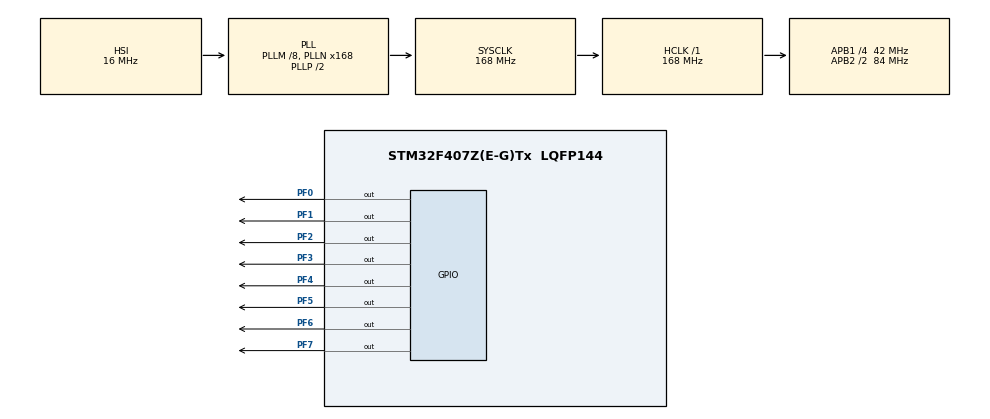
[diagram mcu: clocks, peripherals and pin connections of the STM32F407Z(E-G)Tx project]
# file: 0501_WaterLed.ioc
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Mcu.Family=STM32F4
Mcu.Name=STM32F407Z(E-G)Tx
Mcu.Package=LQFP144
NVIC.PriorityGroup=NVIC_PRIORITYGROUP_4
PA13.Mode=Serial_Wire
PA13.Signal=SYS_JTMS-SWDIO
PA14.Mode=Serial_Wire
PA14.Signal=SYS_JTCK-SWCLK
PF0.PinState=GPIO_PIN_SET
PF0.Signal=GPIO_Output
PF1.PinState=GPIO_PIN_SET
PF1.Signal=GPIO_Output
PF2.PinState=GPIO_PIN_SET
PF2.Signal=GPIO_Output
PF3.PinState=GPIO_PIN_SET
PF3.Signal=GPIO_Output
PF4.PinState=GPIO_PIN_SET
PF4.Signal=GPIO_Output
PF5.PinState=GPIO_PIN_SET
PF5.Signal=GPIO_Output
PF6.PinState=GPIO_PIN_SET
PF6.Signal=GPIO_Output
PF7.PinState=GPIO_PIN_SET
PF7.Signal=GPIO_Output
PH0-OSC_IN.Mode=HSE-External-Oscillator
PH0-OSC_IN.Signal=RCC_OSC_IN
PH1-OSC_OUT.Mode=HSE-External-Oscillator
PH1-OSC_OUT.Signal=RCC_OSC_OUT
ProjectManager.HeapSize=0x200
ProjectManager.StackSize=0x400
ProjectManager.TargetToolchain=STM32CubeIDE
RCC.48MHZClocksFreq_Value=84000000
RCC.AHBFreq_Value=168000000
RCC.APB1CLKDivider=RCC_HCLK_DIV4
RCC.APB1Freq_Value=42000000
RCC.APB1TimFreq_Value=84000000
RCC.APB2CLKDivider=RCC_HCLK_DIV2
RCC.APB2Freq_Value=84000000
RCC.APB2TimFreq_Value=168000000
RCC.CortexFreq_Value=168000000
RCC.HCLKFreq_Value=168000000
RCC.HSE_VALUE=8000000
RCC.HSI_VALUE=16000000
RCC.LSE_VALUE=32768
RCC.PLLM=8
RCC.PLLN=168
RCC.SYSCLKFreq_VALUE=168000000
RCC.SYSCLKSource=RCC_SYSCLKSOURCE_PLLCLK
RCC.VCOOutputFreq_Value=336000000
board=custom

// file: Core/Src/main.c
/* USER CODE BEGIN Header */
/**
  ******************************************************************************
  * @file           : main.c
  * @brief          : Main program body
  ******************************************************************************
  * @attention
  *
  * Copyright (c) 2026 STMicroelectronics.
  * All rights reserved.
  *
  * This software is licensed under terms that can be found in the LICENSE file
  * in the root directory of this software component.
  * If no LICENSE file comes with this software, it is provided AS-IS.
  *
  ******************************************************************************
  */
/* USER CODE END Header */
#include "main.h"
#include "gpio.h"

void SystemClock_Config(void);

int main(void)
{

  /* MCU Configuration--------------------------------------------------------*/

  /* Reset of all peripherals, Initializes the Flash interface and the Systick. */
  HAL_Init();

  /* Configure the system clock */
  SystemClock_Config();

  /* Initialize all configured peripherals */
  MX_GPIO_Init();

  /* Infinite loop */
  while (1)
  {

    /* USER CODE BEGIN 3 */
	  HAL_GPIO_WritePin(GPIOF, GPIO_PIN_0, GPIO_PIN_RESET);
		    HAL_GPIO_WritePin(GPIOF, GPIO_PIN_1, GPIO_PIN_SET);
		    HAL_GPIO_WritePin(GPIOF, GPIO_PIN_2, GPIO_PIN_SET);
		    HAL_GPIO_WritePin(GPIOF, GPIO_PIN_3, GPIO_PIN_SET);
		    HAL_GPIO_WritePin(GPIOF, GPIO_PIN_4, GPIO_PIN_SET);
		    HAL_GPIO_WritePin(GPIOF, GPIO_PIN_5, GPIO_PIN_SET);
		    HAL_GPIO_WritePin(GPIOF, GPIO_PIN_6, GPIO_PIN_SET);
		    HAL_GPIO_WritePin(GPIOF, GPIO_PIN_7, GPIO_PIN_SET);
		    HAL_Delay(500);

		    // PF1亮
		    HAL_GPIO_WritePin(GPIOF, GPIO_PIN_0, GPIO_PIN_SET);
		    HAL_GPIO_WritePin(GPIOF, GPIO_PIN_1, GPIO_PIN_RESET);
		    HAL_GPIO_WritePin(GPIOF, GPIO_PIN_2, GPIO_PIN_SET);
		    HAL_GPIO_WritePin(GPIOF, GPIO_PIN_3, GPIO_PIN_SET);
		    HAL_GPIO_WritePin(GPIOF, GPIO_PIN_4, GPIO_PIN_SET);
		    HAL_GPIO_WritePin(GPIOF, GPIO_PIN_5, GPIO_PIN_SET);
		    HAL_GPIO_WritePin(GPIOF, GPIO_PIN_6, GPIO_PIN_SET);
		    HAL_GPIO_WritePin(GPIOF, GPIO_PIN_7, GPIO_PIN_SET);
		    HAL_Delay(500);

		    // PF2亮
		    HAL_GPIO_WritePin(GPIOF, GPIO_PIN_0, GPIO_PIN_SET);
		    HAL_GPIO_WritePin(GPIOF, GPIO_PIN_1, GPIO_PIN_SET);
		    HAL_GPIO_WritePin(GPIOF, GPIO_PIN_2, GPIO_PIN_RESET);
		    HAL_GPIO_WritePin(GPIOF, GPIO_PIN_3, GPIO_PIN_SET);
		    HAL_GPIO_WritePin(GPIOF, GPIO_PIN_4, GPIO_PIN_SET);
		    HAL_GPIO_WritePin(GPIOF, GPIO_PIN_5, GPIO_PIN_SET);
		    HAL_GPIO_WritePin(GPIOF, GPIO_PIN_6, GPIO_PIN_SET);
		    HAL_GPIO_WritePin(GPIOF, GPIO_PIN_7, GPIO_PIN_SET);
		    HAL_Delay(500);

		    // PF3亮
		    HAL_GPIO_WritePin(GPIOF, GPIO_PIN_0, GPIO_PIN_SET);
		    HAL_GPIO_WritePin(GPIOF, GPIO_PIN_1, GPIO_PIN_SET);
		    HAL_GPIO_WritePin(GPIOF, GPIO_PIN_2, GPIO_PIN_SET);
		    HAL_GPIO_WritePin(GPIOF, GPIO_PIN_3, GPIO_PIN_RESET);
		    HAL_GPIO_WritePin(GPIOF, GPIO_PIN_4, GPIO_PIN_SET);
		    HAL_GPIO_WritePin(GPIOF, GPIO_PIN_5, GPIO_PIN_SET);
		    HAL_GPIO_WritePin(GPIOF, GPIO_PIN_6, GPIO_PIN_SET);
		    HAL_GPIO_WritePin(GPIOF, GPIO_PIN_7, GPIO_PIN_SET);
		    HAL_Delay(500);

		    // PF4亮
		    HAL_GPIO_WritePin(GPIOF, GPIO_PIN_0, GPIO_PIN_SET);
		    HAL_GPIO_WritePin(GPIOF, GPIO_PIN_1, GPIO_PIN_SET);
		    HAL_GPIO_WritePin(GPIOF, GPIO_PIN_2, GPIO_PIN_SET);
		    HAL_GPIO_WritePin(GPIOF, GPIO_PIN_3, GPIO_PIN_SET);
		    HAL_GPIO_WritePin(GPIOF, GPIO_PIN_4, GPIO_PIN_RESET);
		    HAL_GPIO_WritePin(GPIOF, GPIO_PIN_5, GPIO_PIN_SET);
		    HAL_GPIO_WritePin(GPIOF, GPIO_PIN_6, GPIO_PIN_SET);
		    HAL_GPIO_WritePin(GPIOF, GPIO_PIN_7, GPIO_PIN_SET);
		    HAL_Delay(500);

		    // PF5亮
		    HAL_GPIO_WritePin(GPIOF, GPIO_PIN_0, GPIO_PIN_SET);
		    HAL_GPIO_WritePin(GPIOF, GPIO_PIN_1, GPIO_PIN_SET);
		    HAL_GPIO_WritePin(GPIOF, GPIO_PIN_2, GPIO_PIN_SET);
		    HAL_GPIO_WritePin(GPIOF, GPIO_PIN_3, GPIO_PIN_SET);
		    HAL_GPIO_WritePin(GPIOF, GPIO_PIN_4, GPIO_PIN_SET);
		    HAL_GPIO_WritePin(GPIOF, GPIO_PIN_5, GPIO_PIN_RESET);
		    HAL_GPIO_WritePin(GPIOF, GPIO_PIN_6, GPIO_PIN_SET);
		    HAL_GPIO_WritePin(GPIOF, GPIO_PIN_7, GPIO_PIN_SET);
		    HAL_Delay(500);

		    // PF6亮
		    HAL_GPIO_WritePin(GPIOF, GPIO_PIN_0, GPIO_PIN_SET);
		    HAL_GPIO_WritePin(GPIOF, GPIO_PIN_1, GPIO_PIN_SET);
		    HAL_GPIO_WritePin(GPIOF, GPIO_PIN_2, GPIO_PIN_SET);
		    HAL_GPIO_WritePin(GPIOF, GPIO_PIN_3, GPIO_PIN_SET);
		    HAL_GPIO_WritePin(GPIOF, GPIO_PIN_4, GPIO_PIN_SET);
		    HAL_GPIO_WritePin(GPIOF, GPIO_PIN_5, GPIO_PIN_SET);
		    HAL_GPIO_WritePin(GPIOF, GPIO_PIN_6, GPIO_PIN_RESET);
		    HAL_GPIO_WritePin(GPIOF, GPIO_PIN_7, GPIO_PIN_SET);
		    HAL_Delay(500);

		    // PF7亮
		    HAL_GPIO_WritePin(GPIOF, GPIO_PIN_0, GPIO_PIN_SET);
		    HAL_GPIO_WritePin(GPIOF, GPIO_PIN_1, GPIO_PIN_SET);
		    HAL_GPIO_WritePin(GPIOF, GPIO_PIN_2, GPIO_PIN_SET);
		    HAL_GPIO_WritePin(GPIOF, GPIO_PIN_3, GPIO_PIN_SET);
		    HAL_GPIO_WritePin(GPIOF, GPIO_PIN_4, GPIO_PIN_SET);
		    HAL_GPIO_WritePin(GPIOF, GPIO_PIN_5, GPIO_PIN_SET);
		    HAL_GPIO_WritePin(GPIOF, GPIO_PIN_6, GPIO_PIN_SET);
		    HAL_GPIO_WritePin(GPIOF, GPIO_PIN_7, GPIO_PIN_RESET);
		    HAL_Delay(500);
  }
  /* USER CODE END 3 */
}

void SystemClock_Config(void)
{
  RCC_OscInitTypeDef RCC_OscInitStruct = {0};
  RCC_ClkInitTypeDef RCC_ClkInitStruct = {0};

  /** Configure the main internal regulator output voltage
  */
  __HAL_RCC_PWR_CLK_ENABLE();
  __HAL_PWR_VOLTAGESCALING_CONFIG(PWR_REGULATOR_VOLTAGE_SCALE1);

  /** Initializes the RCC Oscillators according to the specified parameters
  * in the RCC_OscInitTypeDef structure.
  */
  RCC_OscInitStruct.OscillatorType = RCC_OSCILLATORTYPE_HSI;
  RCC_OscInitStruct.HSIState = RCC_HSI_ON;
  RCC_OscInitStruct.HSICalibrationValue = RCC_HSICALIBRATION_DEFAULT;
  RCC_OscInitStruct.PLL.PLLState = RCC_PLL_ON;
  RCC_OscInitStruct.PLL.PLLSource = RCC_PLLSOURCE_HSI;
  RCC_OscInitStruct.PLL.PLLM = 8;
  RCC_OscInitStruct.PLL.PLLN = 168;
  RCC_OscInitStruct.PLL.PLLP = RCC_PLLP_DIV2;
  RCC_OscInitStruct.PLL.PLLQ = 4;
  if (HAL_RCC_OscConfig(&RCC_OscInitStruct) != HAL_OK)
  {
    Error_Handler();
  }

  /** Initializes the CPU, AHB and APB buses clocks
  */
  RCC_ClkInitStruct.ClockType = RCC_CLOCKTYPE_HCLK|RCC_CLOCKTYPE_SYSCLK
                              |RCC_CLOCKTYPE_PCLK1|RCC_CLOCKTYPE_PCLK2;
  RCC_ClkInitStruct.SYSCLKSource = RCC_SYSCLKSOURCE_PLLCLK;
  RCC_ClkInitStruct.AHBCLKDivider = RCC_SYSCLK_DIV1;
  RCC_ClkInitStruct.APB1CLKDivider = RCC_HCLK_DIV4;
  RCC_ClkInitStruct.APB2CLKDivider = RCC_HCLK_DIV2;

  if (HAL_RCC_ClockConfig(&RCC_ClkInitStruct, FLASH_LATENCY_5) != HAL_OK)
  {
    Error_Handler();
  }
}

void Error_Handler(void)
{
  __disable_irq();
  while (1)
  {
  }
}
